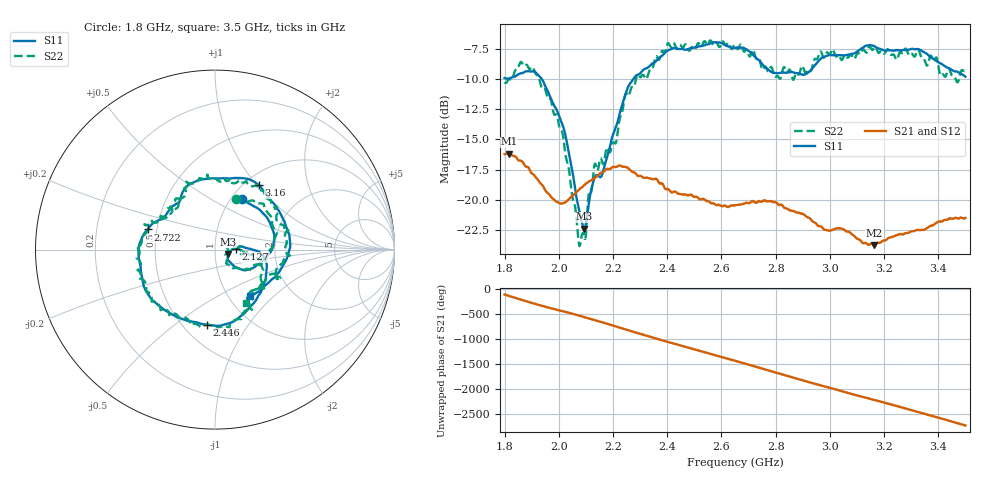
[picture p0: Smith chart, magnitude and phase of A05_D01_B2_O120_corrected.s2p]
! Created with skrf 1.9.0 (http://scikit-rf.org).
# Hz S RI R 50.0
!freq ReS11 ImS11 ReS21 ImS21 ReS12 ImS12 ReS22 ImS22
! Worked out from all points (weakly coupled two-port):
!   1601 points, 1.8 GHz to 3.5 GHz, reference 50 ohm
!   highest |S21| = -16.18 dB at 1.816 GHz (marker M1); lowest = -23.7 dB at 3.164 GHz (marker M2)
!   lowest |S11| = -22.4 dB at 2.093 GHz (marker M3), VSWR 1.16, Z = 57.7 - j2.81 ohm
!   |S11| at or under -10 dB: 1.937 GHz to 2.275 GHz (337.4 MHz wide, 16 % of centre)
!   |S22| runs from -23.8 to -6.8 dB; largest |S21 - S12| = 0.0031
!   S11 on the Smith chart (normalised r, x): 1.8 GHz: 1.12, +0.70; 2.127 GHz: 1.27, +0.01; 2.446 GHz: 0.65, -0.66; 2.722 GHz: 0.44, +0.12; 3.16 GHz: 1.16, +1.03; 3.5 GHz: 1.26, -0.72
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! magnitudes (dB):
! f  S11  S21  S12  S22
! 1.8 GHz  -9.9  -16.2  -16.2  -10.3
! 1.816 GHz  -10.0  -16.2  -16.2  -10.0
! 1.902 GHz  -9.4  -17.8  -17.8  -9.0
! 1.969 GHz  -11.5  -19.7  -19.7  -11.6
! 2.021 GHz  -14.3  -20.2  -20.2  -15.7
! 2.073 GHz  -20.7  -19.2  -19.2  -23.4
! 2.084 GHz  -21.7  -19.0  -18.9  -23.0
! 2.093 GHz  -22.4  -18.8  -18.8  -23.0
! 2.127 GHz  -18.5  -18.3  -18.3  -17.8
! 2.16 GHz  -17.9  -17.7  -17.7  -16.9
! 2.208 GHz  -14.1  -17.3  -17.3  -15.3
! 2.259 GHz  -10.5  -17.4  -17.5  -11.3
! 2.367 GHz  -8.3  -18.5  -18.5  -8.4
! 2.446 GHz  -7.5  -19.5  -19.5  -7.2
! 2.65 GHz  -7.4  -20.4  -20.4  -7.2
! 2.722 GHz  -8.1  -20.2  -20.1  -7.9
! 2.809 GHz  -9.5  -20.4  -20.3  -9.8
! 2.934 GHz  -9.2  -21.7  -21.7  -9.1
! 3.16 GHz  -7.2  -23.7  -23.7  -7.5
! 3.164 GHz  -7.3  -23.7  -23.7  -7.4
! 3.217 GHz  -7.6  -23.1  -23.1  -7.7
! 3.5 GHz  -9.8  -21.5  -21.5  -9.2
